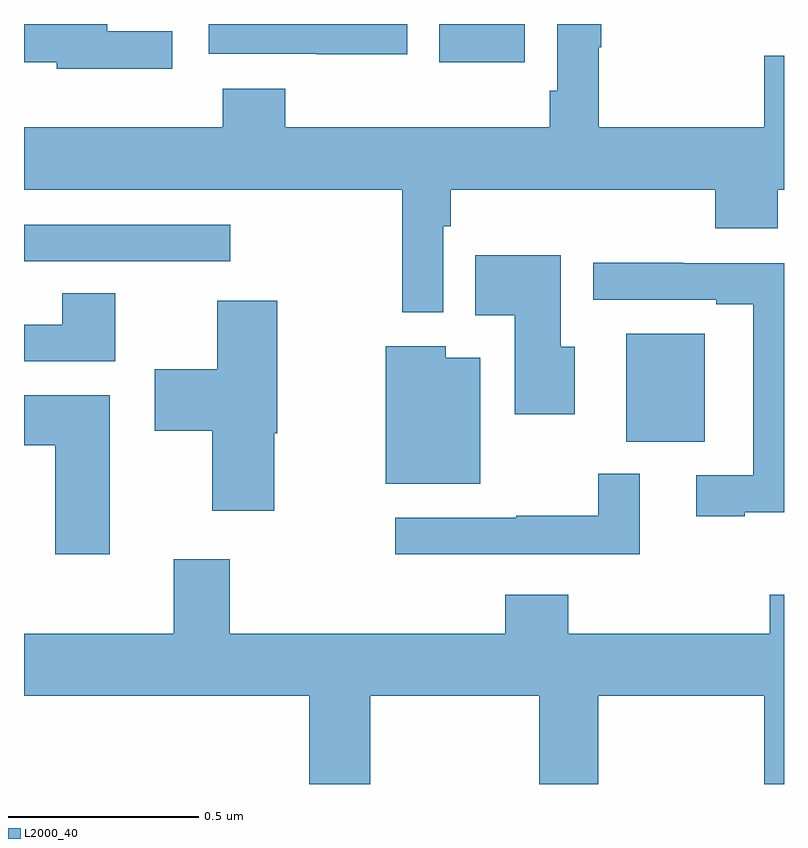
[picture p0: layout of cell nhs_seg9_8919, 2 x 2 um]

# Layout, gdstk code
import gdstk
lib = gdstk.Library(unit=1e-6, precision=1e-09)
def R(c, l, rs):  # rectangles x0, y0, x1, y1
    for r in rs: c.add(gdstk.rectangle(r[:2], r[2:], *l))
def P(c, l, *ps):  # polygons
    for p in ps: c.add(gdstk.Polygon(p, *l))
L2000_40 = (2000, 40)

nhs_seg9_8919 = lib.new_cell('nhs_seg9_8919')
R(nhs_seg9_8919, L2000_40, [(224.585,1218.401,224.791,1218.685), (223,1218.876,223.543,1218.972), (224.093,1219.4,224.318,1219.5)])
P(nhs_seg9_8919, L2000_40, [(224.103,1218.968),(224.123,1218.968),(224.123,1219.064),(224.819,1219.064),(224.819,1218.962),(224.984,1218.962),(224.984,1219.064),(225,1219.064),(225,1219.417),(224.948,1219.417),(224.948,1219.228),(224.512,1219.228),(224.512,1219.439),(224.519,1219.439),(224.519,1219.5),(224.403,1219.5),(224.403,1219.324),(224.383,1219.324),(224.383,1219.228),(223.688,1219.228),(223.688,1219.33),(223.523,1219.33),(223.523,1219.228),(223,1219.228),(223,1219.064),(223.995,1219.064),(223.995,1218.741),(224.103,1218.741)],
  [(223.39,1219.481),(223.219,1219.481),(223.219,1219.5),(223,1219.5),(223,1219.4),(223.086,1219.4),(223.086,1219.382),(223.39,1219.382)],
  [(224.008,1219.5),(223.486,1219.5),(223.486,1219.422),(223.771,1219.422),(223.771,1219.421),(224.008,1219.421)],
  [(224.449,1218.651),(224.413,1218.651),(224.413,1218.892),(224.188,1218.892),(224.188,1218.734),(224.291,1218.734),(224.291,1218.473),(224.449,1218.473)],
  [(224.897,1218.215),(225,1218.215),(225,1218.87),(224.735,1218.87),(224.735,1218.872),(224.498,1218.872),(224.498,1218.774),(224.822,1218.774),(224.822,1218.762),(224.919,1218.762),(224.919,1218.312),(224.769,1218.312),(224.769,1218.204),(224.897,1218.204)],
  [(223.24,1218.791),(223.1,1218.791),(223.1,1218.708),(223,1218.708),(223,1218.612),(223.24,1218.612)],
  [(223.659,1218.423),(223.666,1218.423),(223.666,1218.772),(223.508,1218.772),(223.508,1218.592),(223.344,1218.592),(223.344,1218.43),(223.496,1218.43),(223.496,1218.219),(223.659,1218.219)],
  [(224.2,1218.622),(224.11,1218.622),(224.11,1218.652),(223.952,1218.652),(223.952,1218.29),(224.2,1218.29)],
  [(223.225,1218.523),(223,1218.523),(223,1218.392),(223.082,1218.392),(223.082,1218.105),(223.225,1218.105)],
  [(224.62,1218.316),(224.511,1218.316),(224.511,1218.206),(224.296,1218.206),(224.296,1218.201),(223.977,1218.201),(223.977,1218.105),(224.62,1218.105)],
  [(224.511,1217.732),(224.948,1217.732),(224.948,1217.5),(225,1217.5),(225,1217.998),(224.963,1217.998),(224.963,1217.896),(224.432,1217.896),(224.432,1217.998),(224.267,1217.998),(224.267,1217.896),(223.542,1217.896),(223.542,1218.091),(223.394,1218.091),(223.394,1217.896),(223,1217.896),(223,1217.732),(223.751,1217.732),(223.751,1217.5),(223.911,1217.5),(223.911,1217.732),(224.356,1217.732),(224.356,1217.5),(224.511,1217.5)])

lib.write_gds('nhs_seg9_8919.gds')
